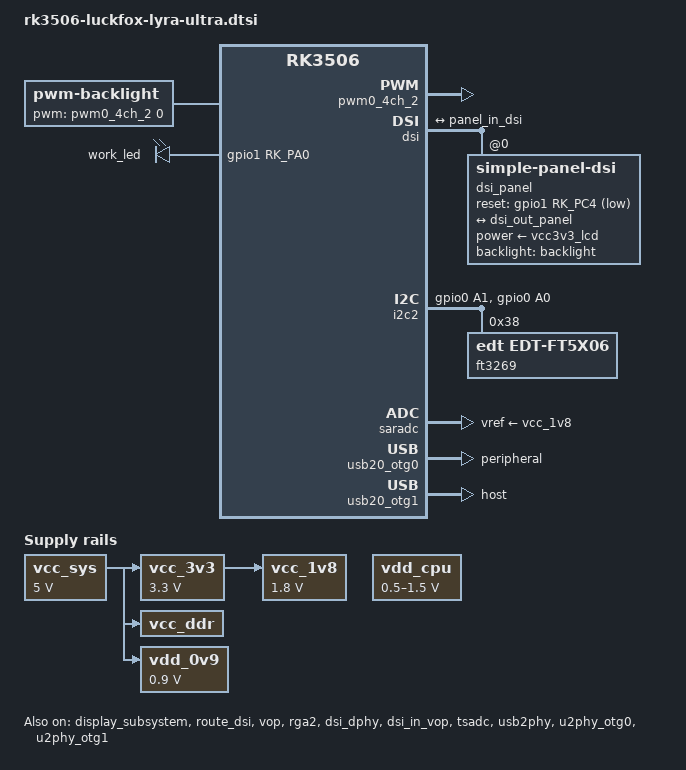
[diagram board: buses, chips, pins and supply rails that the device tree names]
// SPDX-License-Identifier: (GPL-2.0+ OR MIT)
/*
 * Copyright (c) 2024 Rockchip Electronics Co., Ltd.
 */

// 3寸mipi屏幕
// 该版本基于 幸狐官方dtsi深度定制，专为 480x854 分辨率 MIPI 屏幕优化。
// 与原始通用版本（rk3506-luckfox-lyra-ultra.dtsi）的主要差异如下：
// 1. 启用了 PWM 背光，并调整了 PWM 频率参数。
// 2. 为3寸mipi屏幕添加了完整的初始化序列、复位GPIO控制、专用时序参数。
// 3. 配置了 FT3269 触摸屏驱动。
// 4. 移除了通用版本中大量未使用的屏幕时序定义，使文件更简洁。

/dts-v1/;

#include <dt-bindings/pinctrl/rockchip.h>
#include <dt-bindings/display/drm_mipi_dsi.h>
#include <dt-bindings/display/rockchip_vop.h>
#include <dt-bindings/input/rk-input.h>
#include <dt-bindings/sensor-dev.h>
#include <dt-bindings/suspend/rockchip-rk3506.h>
#include "rk3506.dtsi"

/ {
	backlight: backlight {
		compatible = "pwm-backlight";
		/* 差异点：PWM 周期从 25000ns 改为 1000000ns，40khz改为1khz，具体可查看背光驱动芯片 */
		pwms = <&pwm0_4ch_2 0 1000000 0>;
		brightness-levels = <
			  0  20  20  21  21  22  22  23
			 23  24  24  25  25  26  26  27
			 27  28  28  29  29  30  30  31
			 31  32  32  33  33  34  34  35
			 35  36  36  37  37  38  38  39
			 40  41  42  43  44  45  46  47
			 48  49  50  51  52  53  54  55
			 56  57  58  59  60  61  62  63
			 64  65  66  67  68  69  70  71
			 72  73  74  75  76  77  78  79
			 80  81  82  83  84  85  86  87
			 88  89  90  91  92  93  94  95
			 96  97  98  99 100 101 102 103
			104 105 106 107 108 109 110 111
			112 113 114 115 116 117 118 119
			120 121 122 123 124 125 126 127
			128 129 130 131 132 133 134 135
			136 137 138 139 140 141 142 143
			144 145 146 147 148 149 150 151
			152 153 154 155 156 157 158 159
			160 161 162 163 164 165 166 167
			168 169 170 171 172 173 174 175
			176 177 178 179 180 181 182 183
			184 185 186 187 188 189 190 191
			192 193 194 195 196 197 198 199
			200 201 202 203 204 205 206 207
			208 209 210 211 212 213 214 215
			216 217 218 219 220 221 222 223
			224 225 226 227 228 229 230 231
			232 233 234 235 236 237 238 239
			240 241 242 243 244 245 246 247
			248 249 250 251 252 253 254 255
		>;
		default-brightness-level = <200>;
		status = "okay";	/* 此处显式启用背光 */
	};

	adc_keys: adc-keys {
		compatible = "adc-keys";
		io-channels = <&saradc 1>;
		io-channel-names = "buttons";
		keyup-threshold-microvolt = <1800000>;
		poll-interval = <100>;
	};

	fiq_debugger: fiq-debugger {
		compatible = "rockchip,fiq-debugger";
		rockchip,serial-id = <0>;
		rockchip,wake-irq = <0>;
		rockchip,irq-mode-enable = <1>;
		rockchip,baudrate = <1500000>;
		interrupts = <GIC_SPI 115 IRQ_TYPE_LEVEL_HIGH>;
	};

	leds: leds {
		compatible = "gpio-leds";
		work_led: work-led {
			gpios = <&gpio1 RK_PA0 GPIO_ACTIVE_HIGH>;
			linux,default-trigger = "heartbeat";
		};
	};

	vcc_sys: vcc-sys {
		compatible = "regulator-fixed";
		regulator-name = "vcc_sys";
		regulator-always-on;
		regulator-boot-on;
		regulator-min-microvolt = <5000000>;
		regulator-max-microvolt = <5000000>;
	};

	vcc_3v3: vcc-3v3 {
		compatible = "regulator-fixed";
		regulator-name = "vcc_3v3";
		regulator-always-on;
		regulator-boot-on;
		regulator-min-microvolt = <3300000>;
		regulator-max-microvolt = <3300000>;
		vin-supply = <&vcc_sys>;
	};

	vcc_1v8: vcc-1v8 {
		compatible = "regulator-fixed";
		regulator-name = "vcc_1v8";
		regulator-always-on;
		regulator-boot-on;
		regulator-min-microvolt = <1800000>;
		regulator-max-microvolt = <1800000>;
		vin-supply = <&vcc_3v3>;
	};

	vcc_ddr: vcc-ddr {
		compatible = "regulator-fixed";
		regulator-name = "vcc_ddr";
		regulator-always-on;
		regulator-boot-on;
		vin-supply = <&vcc_sys>;
	};

	vdd_0v9: vdd-0v9 {
		compatible = "regulator-fixed";
		regulator-name = "vdd_0v9";
		regulator-always-on;
		regulator-boot-on;
		regulator-min-microvolt = <900000>;
		regulator-max-microvolt = <900000>;
		vin-supply = <&vcc_sys>;
	};

	vdd_cpu: vdd-cpu {
		compatible = "regulator-fixed";
		regulator-name = "vdd_cpu";
		regulator-boot-on;
		regulator-always-on;
		regulator-min-microvolt = <500000>;
		regulator-max-microvolt = <1500000>;
		vin-supply = <&vdd_cpu>;
	};
};

/**********cpu**********/
&cpu0 {
	cpu-supply = <&vdd_cpu>;
	status = "okay";
};

/**********display**********/
&cma {
	size = <0x2000000>;
};

&display_subsystem {
	logo-memory-region = <&drm_logo>;
	status = "okay";
};

&route_dsi{
	status = "okay";
};

&vop {
	status = "okay";
};

&rga2 {
	status = "okay";
};

&pwm0_4ch_2 {
	pinctrl-names = "active";
	pinctrl-0 = <&rm_io15_pwm0_ch2>;
	status = "okay";
};

&dsi {
	status = "okay";

	dsi_panel: panel@0 {
		status = "okay";
		/* 差异点：新增属性，用于指定 MIPI 通道速率 */
		rockchip,lane-rate = <1000>;
		compatible = "simple-panel-dsi";
		reg = <0>;
		bpc = <8>;          /* 每像素 8 位色彩深度 */
		/* 差异点：电源引用改为 vcc3v3_lcd（需在根节点定义或由其他文件提供） */
		power-supply = <&vcc3v3_lcd>;   
   		/* 差异点：显式启用背光 */
		backlight = <&backlight>;
		/* 差异点：添加复位 GPIO 控制，GPIO1_C4 用于屏幕硬件复位 */
		reset-gpios = <&gpio1 RK_PC4 GPIO_ACTIVE_LOW>;
		/* 差异点：定制时序延迟参数，适配本屏幕的复位与初始化要求 */
		reset-delay-ms = <30>;
		enable-delay-ms = <100>;
		prepare-delay-ms = <20>;
		unprepare-delay-ms = <20>;
		disable-delay-ms = <20>;
		init-delay-ms = <120>;

		dsi,flags = <(MIPI_DSI_MODE_VIDEO | MIPI_DSI_MODE_VIDEO_BURST | MIPI_DSI_MODE_LPM | MIPI_DSI_MODE_NO_EOT_PACKET )>;
		dsi,format = <MIPI_DSI_FMT_RGB888>;
		dsi,lanes  = <2>;	/* 2 条数据通道 */

		/* 差异点：专为 480x854 屏幕编写的初始化命令序列（已压缩为单行） */
		panel-init-sequence = [05 78 01 01 39 00 06 FF 77 01 00 00 13 15 00 02 EF 08 39 00 06 FF 77 01 00 00 10 39 00 03 C0 E9 03 39 00 03 C1 12 0C 39 00 03 C2 27 0A 15 00 02 CC 10 39 00 11 B0 00 23 2A 0A 0E 03 12 06 06 2A 00 10 0F 2D 34 1F 39 00 11 B1 00 24 2B 0F 12 07 15 0A 0A 2B 08 13 10 2D 33 1F 39 00 06 FF 77 01 00 00 11 15 00 02 B0 5D 15 00 02 B1 74 15 00 02 B2 84 15 00 02 B3 80 15 00 02 B5 45 15 00 02 B7 85 15 00 02 B8 33 15 00 02 C1 78 15 00 02 C2 78 15 64 02 D0 88 39 00 04 E0 00 00 02 39 00 0C E1 06 A0 08 A0 05 A0 07 A0 00 44 44 39 00 0D E2 30 30 44 44 6E A0 00 00 6E A0 00 00 39 00 05 E3 00 00 33 33 39 00 03 E4 44 44 39 00 11 E5 0D 69 0A A0 0F 6B 0A A0 09 65 0A A0 0B 67 0A A0 39 00 05 E6 00 00 33 33 39 00 03 E7 44 44 39 00 11 E8 0C 68 0A A0 0E 6A 0A A0 08 64 0A A0 0A 66 0A A0 39 00 03 E9 36 00 39 00 08 EB 00 01 E4 E4 44 88 40 39 00 11 ED FF 45 67 FA 01 2B CF FF FF FC B2 10 AF 76 54 FF 39 00 07 EF 10 0D 04 08 3F 1F 39 00 06 FF 77 01 00 00 00 15 00 02 36 00 15 00 02 3A 70 05 78 01 11 05 14 01 29];

		/* 退出睡眠和关闭显示的标准命令 */
		panel-exit-sequence = [05 00 01 28 05 00 01 10];

		display-timings {
			/* 差异点：仅保留适配 480x854 的时序，其他通用版时序定义全部移除 */
			native-mode = <&timing0>;
			timing0: timing0 {
				clock-frequency = <27000000>;	/* 像素时钟 27MHz */
				hactive = <480>;		/* 水平有效像素 */
				vactive = <854>;		/* 垂直有效像素 */
				hfront-porch = <7>;		/* 水平前沿 */
				hsync-len = <2>;		/* 水平同步宽度 */
				hback-porch = <11>;		/* 水平后沿 */
				vfront-porch = <22>;		/* 垂直前沿 */
				vsync-len = <2>;		/* 垂直同步宽度 */
				vback-porch = <12>;		/* 垂直后沿 */
				hsync-active = <0>;		/* 水平同步信号低有效 */
				vsync-active = <0>;		/* 垂直同步信号低有效 */
				de-active = <0>;		/* 数据使能信号低有效 */
				pixelclk-active = <0>;		/* 像素时钟下降沿采样 */
			};
		};

		ports {
			#address-cells = <1>;
			#size-cells = <0>;

			port@0 {
				reg = <0>;
				panel_in_dsi: endpoint {
					remote-endpoint = <&dsi_out_panel>;
				};
			};
		};
	};

	ports {
		#address-cells = <1>;
		#size-cells = <0>;

		port@1 {
			reg = <1>;
			dsi_out_panel: endpoint {
				remote-endpoint = <&panel_in_dsi>;
			};
		};
	};
};

&dsi_dphy {
	status = "okay";
};

&dsi_in_vop {
	status = "okay";
};

/**********TP**********/
&i2c2{
	status = "okay";
	pinctrl-names = "default";
	pinctrl-0 = <&rm_io1_i2c2_scl &rm_io0_i2c2_sda>;

	/* 差异点：启用 FT3269 触摸屏驱动，适配 3 寸屏幕的触控 IC */
	ft3269: ft3269@38 {
		compatible = "edt,edt-ft5x06";   /* 使用 FT5x06 兼容驱动 */
		reg = <0x38>;
		poll-interval = <1>;            /* 轮询间隔 1ms */
		touchscreen-size-x = <480>;
		touchscreen-size-y = <854>;
		touchscreen-inverted-x = <1>;   /* 根据屏幕安装方向可能需要反转 X 轴 */
		status = "okay";
    };

	/* 通用版中存在的其他触摸屏节点均被注释，避免冲突 */
	// gt9271: gt9271@5d {
	// 	status = "okay";
	// 	compatible = "goodix,gt9271";
	// 	reg = <0x5d>;
	// 	pinctrl-names = "default";
	// };

	// gt911: gt911@14 {
	// 	status = "okay";
	// 	compatible = "goodix,gt911";
	// 	reg = <0x14>;
	// };

	// ft5406: ft5406@38 {
	// 	status = "okay";
	// 	compatible = "edt,edt-ft5506";
	// 	reg = <0x38>;
	// 	touchscreen-inverted-x;
	// 	touchscreen-inverted-y;
	// 	touchscreen-size-x = <800>;
	// 	touchscreen-size-y = <480>;
	// };

	// ws_bl: ws-bl@45 {
	// 	status = "okay";
	// 	compatible = "waveshare,dsi-backlight";
	// 	reg = <0x45>;
	// 	default-brightness-level = <200>;
	// 	max-brightness-level = <255>;
	// 	min-brightness-level = <5>;
	// };
};

&pinctrl {
	rm_io0 {
		rm_io0_i2c2_sda: rm-io0-i2c2-sda {
			rockchip,pins = <0 RK_PA0 35 &pcfg_pull_up>;
		};
	};

	rm_io1 {
		rm_io1_i2c2_scl: rm-io1-i2c2-scl {
			rockchip,pins = <0 RK_PA1 34 &pcfg_pull_up>;
		};
	};
};

/**********adc**********/
&saradc {
	vref-supply = <&vcc_1v8>;
	status = "okay";
};

&tsadc {
	pinctrl-names = "gpio", "otpout";
	pinctrl-0 = <&wdt_tsadc_gpio>;
	pinctrl-1 = <&rm_io21_wdt_tsadc_shut>;
	status = "okay";
};

/**********usb**********/
&usb20_otg0 {
	dr_mode = "peripheral";
	status = "okay";
};

&usb20_otg1 {
	dr_mode = "host";
	status = "okay";
};

&usb2phy {
	status = "okay";
};

&u2phy_otg0 {
	status = "okay";
};

&u2phy_otg1 {
	status = "okay";
};

/**********pinctrl**********/
&pinctrl {
	sdmmc {
		/omit-if-no-ref/
		sdmmc_pwren: sdmmc-pwren {
			rockchip,pins = <1 RK_PB7 RK_FUNC_GPIO &pcfg_pull_down>;
		};

		sdmmc_det: sdmmc-det {
			rockchip,pins = <1 RK_PB6 RK_FUNC_GPIO &pcfg_pull_up>;
		};
	};

	tsadc {
		wdt_tsadc_gpio: wdt-tsadc-gpio {
			rockchip,pins = <0 RK_PC5 RK_FUNC_GPIO &pcfg_pull_none>;
		};
	};
};

